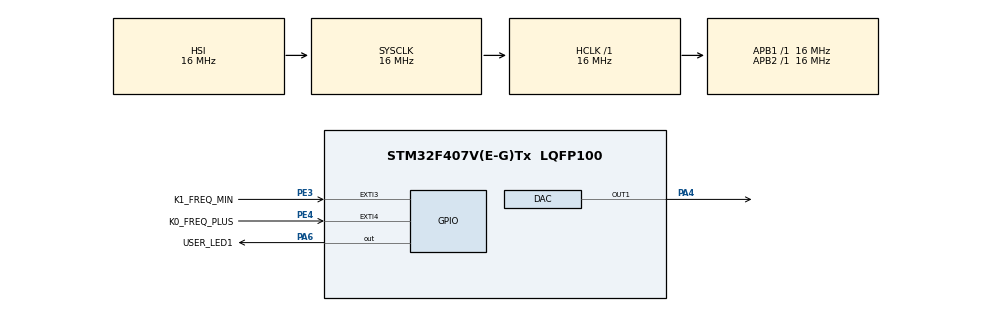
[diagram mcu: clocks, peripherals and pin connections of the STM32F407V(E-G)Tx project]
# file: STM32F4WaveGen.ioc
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DAC.DAC_Trigger=DAC_TRIGGER_T2_TRGO
DAC.TriangleAmplitude=DAC_TRIANGLEAMPLITUDE_15
DAC.WaveGeneration=TriangleWaveGeneration
Dma.DAC1.0.Direction=DMA_MEMORY_TO_PERIPH
Dma.DAC1.0.FIFOMode=DMA_FIFOMODE_DISABLE
Dma.DAC1.0.Instance=DMA1_Stream5
Dma.DAC1.0.MemDataAlignment=DMA_MDATAALIGN_WORD
Dma.DAC1.0.MemInc=DMA_MINC_ENABLE
Dma.DAC1.0.Mode=DMA_CIRCULAR
Dma.DAC1.0.PeriphDataAlignment=DMA_PDATAALIGN_WORD
Dma.DAC1.0.PeriphInc=DMA_PINC_DISABLE
Dma.DAC1.0.Priority=DMA_PRIORITY_HIGH
Dma.Request0=DAC1
Mcu.Family=STM32F4
Mcu.Name=STM32F407V(E-G)Tx
Mcu.Package=LQFP100
NVIC.DMA1_Stream5_IRQn=true\:0\:0\:false\:false\:true\:false\:true
NVIC.EXTI3_IRQn=true\:0\:0\:false\:false\:true\:true\:true
NVIC.EXTI4_IRQn=true\:0\:0\:false\:false\:true\:true\:true
NVIC.PriorityGroup=NVIC_PRIORITYGROUP_4
PA4.Signal=COMP_DAC1_group
PA6.GPIO_Label=USER_LED1
PA6.Signal=GPIO_Output
PE3.GPIO_Label=K1_FREQ_MIN
PE3.GPIO_PuPd=GPIO_PULLUP
PE3.Signal=GPXTI3
PE4.GPIO_Label=K0_FREQ_PLUS
PE4.GPIO_PuPd=GPIO_PULLUP
PE4.Signal=GPXTI4
ProjectManager.HeapSize=0x200
ProjectManager.StackSize=0x400
ProjectManager.TargetToolchain=MDK-ARM V5.27
RCC.48MHZClocksFreq_Value=48000000
RCC.AHBFreq_Value=16000000
RCC.APB1Freq_Value=16000000
RCC.APB1TimFreq_Value=16000000
RCC.APB2Freq_Value=16000000
RCC.APB2TimFreq_Value=16000000
RCC.CortexFreq_Value=16000000
RCC.HCLKFreq_Value=16000000
RCC.HSE_VALUE=25000000
RCC.HSI_VALUE=16000000
RCC.LSE_VALUE=32768
RCC.SYSCLKFreq_VALUE=16000000
RCC.VCOOutputFreq_Value=192000000
SH.COMP_DAC1_group.0=DAC_OUT1,DAC_OUT1
TIM2.Period=327
TIM2.TIM_MasterOutputTrigger=TIM_TRGO_UPDATE
VP_TIM2_VS_ClockSourceINT.Mode=Internal
board=custom

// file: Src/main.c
/* USER CODE BEGIN Header */
/**
  ******************************************************************************
  * @file           : main.c
  * @brief          : Main program body
  ******************************************************************************
  * @attention
  *
  * <h2><center>&copy; Copyright (c) 2022 STMicroelectronics.
  * All rights reserved.</center></h2>
  *
  * This software component is licensed by ST under BSD 3-Clause license,
  * the "License"; You may not use this file except in compliance with the
  * License. You may obtain a copy of the License at:
  *                        opensource.org/licenses/BSD-3-Clause
  *
  ******************************************************************************
  */
/* USER CODE END Header */

#include "main.h"

DAC_HandleTypeDef hdac;
DMA_HandleTypeDef hdma_dac1;

TIM_HandleTypeDef htim2;

/* USER CODE BEGIN PV */
static int periodValue = 327;
int waveMode = 0;
int prevWave = -1;
/* USER CODE END PV */

void SystemClock_Config(void);
static void MX_GPIO_Init(void);
static void MX_DMA_Init(void);
static void MX_DAC_Init(void);
static void MX_TIM2_Init(void);
static void Begin_DAC(uint32_t* pData);
void DMATransferComplete(DMA_HandleTypeDef *hdma);

/* USER CODE BEGIN 0 */
#define NS  128

uint32_t Sine_Wave_LUT[NS] = {
    2048, 2149, 2250, 2350, 2450, 2549, 2646, 2742, 2837, 2929, 3020, 3108, 3193, 3275, 3355,
3431, 3504, 3574, 3639, 3701, 3759, 3812, 3861, 3906, 3946, 3982, 4013, 4039, 4060, 4076,
4087, 4094, 4095, 4091, 4082, 4069, 4050, 4026, 3998, 3965, 3927, 3884, 3837, 3786, 3730,
3671, 3607, 3539, 3468, 3394, 3316, 3235, 3151, 3064, 2975, 2883, 2790, 2695, 2598, 2500,
2400, 2300, 2199, 2098, 1997, 1896, 1795, 1695, 1595, 1497, 1400, 1305, 1212, 1120, 1031,
944, 860, 779, 701, 627, 556, 488, 424, 365, 309, 258, 211, 168, 130, 97,
69, 45, 26, 13, 4, 0, 1, 8, 19, 35, 56, 82, 113, 149, 189,
234, 283, 336, 394, 456, 521, 591, 664, 740, 820, 902, 987, 1075, 1166, 1258,
1353, 1449, 1546, 1645, 1745, 1845, 1946, 2047
};

uint32_t Saw_Wave_LUT[NS] = {
	0, 32, 64, 97, 129, 161, 193, 226, 258, 290, 322, 355, 387, 419, 451,
484, 516, 548, 580, 613, 645, 677, 709, 742, 774, 806, 838, 871, 903, 935,
967, 1000, 1032, 1064, 1096, 1129, 1161, 1193, 1225, 1258, 1290, 1322, 1354, 1386, 1419,
1451, 1483, 1515, 1548, 1580, 1612, 1644, 1677, 1709, 1741, 1773, 1806, 1838, 1870, 1902,
1935, 1967, 1999, 2031, 2064, 2096, 2128, 2160, 2193, 2225, 2257, 2289, 2322, 2354, 2386,
2418, 2451, 2483, 2515, 2547, 2580, 2612, 2644, 2676, 2709, 2741, 2773, 2805, 2837, 2870,
2902, 2934, 2966, 2999, 3031, 3063, 3095, 3128, 3160, 3192, 3224, 3257, 3289, 3321, 3353,
3386, 3418, 3450, 3482, 3515, 3547, 3579, 3611, 3644, 3676, 3708, 3740, 3773, 3805, 3837,
3869, 3902, 3934, 3966, 3998, 4031, 4063, 0
};

uint32_t Tri_Wave_LUT[NS] = {
	0, 64, 129, 193, 258, 322, 387, 451, 516, 580, 645, 709, 774, 838, 903,
967, 1032, 1096, 1161, 1225, 1290, 1354, 1419, 1483, 1548, 1612, 1677, 1741, 1806, 1870,
1935, 1999, 2064, 2128, 2193, 2257, 2322, 2386, 2451, 2515, 2580, 2644, 2709, 2773, 2837,
2902, 2966, 3031, 3095, 3160, 3224, 3289, 3353, 3418, 3482, 3547, 3611, 3676, 3740, 3805,
3869, 3934, 3998, 4063, 4063, 3998, 3934, 3869, 3805, 3740, 3676, 3611, 3547, 3482, 3418,
3353, 3289, 3224, 3160, 3095, 3031, 2966, 2902, 2837, 2773, 2709, 2644, 2580, 2515, 2451,
2386, 2322, 2257, 2193, 2128, 2064, 1999, 1935, 1870, 1806, 1741, 1677, 1612, 1548, 1483,
1419, 1354, 1290, 1225, 1161, 1096, 1032, 967, 903, 838, 774, 709, 645, 580, 516,
451, 387, 322, 258, 193, 129, 64, 0
};
/* USER CODE END 0 */

int main(void)
{

  /* MCU Configuration--------------------------------------------------------*/

  /* Reset of all peripherals, Initializes the Flash interface and the Systick. */
  HAL_Init();

  /* Configure the system clock */
  SystemClock_Config();

  /* Initialize all configured peripherals */
  MX_GPIO_Init();
  /* USER CODE BEGIN 2 */
   HAL_DMA_RegisterCallback(&hdma_dac1, HAL_DMA_XFER_CPLT_CB_ID, &DMATransferComplete);
	 Begin_DAC((uint32_t*)Tri_Wave_LUT);
//		HAL_Delay(2000);
  /* USER CODE END 2 */

  /* Infinite loop */
	while (1)
  {
//		Begin_DAC((uint32_t*)Saw_Wave_LUT);
//		HAL_Delay(2000);
//    HAL_DAC_Stop(&hdac, DAC_CHANNEL_1);
//		HAL_Delay(2000);
  }
}

void Begin_DAC(uint32_t* pData)
{
	MX_DMA_Init();
  MX_DAC_Init();
  MX_TIM2_Init();
  /* USER CODE BEGIN 2 */
	HAL_DAC_Start_DMA(&hdac, DAC_CHANNEL_1, pData, 128, DAC_ALIGN_12B_R);
  HAL_TIM_Base_Start(&htim2);
}

void DMATransferComplete(DMA_HandleTypeDef *hdma)
{
  Begin_DAC((uint32_t*)Tri_Wave_LUT);
}

// External Interrupt ISR Handler CallBackFun
void HAL_GPIO_EXTI_Callback(uint16_t GPIO_Pin)
{
	  HAL_GPIO_TogglePin(USER_LED1_GPIO_Port,USER_LED1_Pin);
    if(GPIO_Pin == K1_FREQ_MIN_Pin) // INT Source is pin A9
    {
				//decrease wave frequency
				periodValue = periodValue + 10;
		}
		else if(GPIO_Pin == K0_FREQ_PLUS_Pin)
		{
				//increase wave frequency
				periodValue = periodValue - 10;
			  if(HAL_GPIO_ReadPin(K1_FREQ_MIN_GPIO_Port, K1_FREQ_MIN_Pin) == GPIO_PIN_RESET)
				{
					//Change waveform
					waveMode++;
					if(waveMode > 2)
						waveMode = 0;
				}
		}
		if(periodValue < 200 || periodValue > 500 )
				periodValue = 327;

		__HAL_TIM_SET_AUTORELOAD(&htim2,periodValue);

}

void SystemClock_Config(void)
{
  RCC_OscInitTypeDef RCC_OscInitStruct = {0};
  RCC_ClkInitTypeDef RCC_ClkInitStruct = {0};

  /** Configure the main internal regulator output voltage
  */
  __HAL_RCC_PWR_CLK_ENABLE();
  __HAL_PWR_VOLTAGESCALING_CONFIG(PWR_REGULATOR_VOLTAGE_SCALE1);
  /** Initializes the CPU, AHB and APB busses clocks
  */
  RCC_OscInitStruct.OscillatorType = RCC_OSCILLATORTYPE_HSI;
  RCC_OscInitStruct.HSIState = RCC_HSI_ON;
  RCC_OscInitStruct.HSICalibrationValue = RCC_HSICALIBRATION_DEFAULT;
  RCC_OscInitStruct.PLL.PLLState = RCC_PLL_NONE;
  if (HAL_RCC_OscConfig(&RCC_OscInitStruct) != HAL_OK)
  {
    Error_Handler();
  }
  /** Initializes the CPU, AHB and APB busses clocks
  */
  RCC_ClkInitStruct.ClockType = RCC_CLOCKTYPE_HCLK|RCC_CLOCKTYPE_SYSCLK
                              |RCC_CLOCKTYPE_PCLK1|RCC_CLOCKTYPE_PCLK2;
  RCC_ClkInitStruct.SYSCLKSource = RCC_SYSCLKSOURCE_HSI;
  RCC_ClkInitStruct.AHBCLKDivider = RCC_SYSCLK_DIV1;
  RCC_ClkInitStruct.APB1CLKDivider = RCC_HCLK_DIV1;
  RCC_ClkInitStruct.APB2CLKDivider = RCC_HCLK_DIV1;

  if (HAL_RCC_ClockConfig(&RCC_ClkInitStruct, FLASH_LATENCY_0) != HAL_OK)
  {
    Error_Handler();
  }
}

static void MX_DAC_Init(void)
{

  DAC_ChannelConfTypeDef sConfig = {0};

  /** DAC Initialization
  */
  hdac.Instance = DAC;
  if (HAL_DAC_Init(&hdac) != HAL_OK)
  {
    Error_Handler();
  }
  /** DAC channel OUT1 config
  */
  sConfig.DAC_Trigger = DAC_TRIGGER_T2_TRGO;
  sConfig.DAC_OutputBuffer = DAC_OUTPUTBUFFER_ENABLE;
  if (HAL_DAC_ConfigChannel(&hdac, &sConfig, DAC_CHANNEL_1) != HAL_OK)
  {
    Error_Handler();
  }
  /** Configure Triangle wave generation on DAC OUT1
  */
  if (HAL_DACEx_TriangleWaveGenerate(&hdac, DAC_CHANNEL_1, DAC_TRIANGLEAMPLITUDE_15) != HAL_OK)
  {
    Error_Handler();
  }

}

static void MX_TIM2_Init(void)
{

  TIM_ClockConfigTypeDef sClockSourceConfig = {0};
  TIM_MasterConfigTypeDef sMasterConfig = {0};

  htim2.Instance = TIM2;
  htim2.Init.Prescaler = 0;
  htim2.Init.CounterMode = TIM_COUNTERMODE_UP;
  htim2.Init.Period = 327;
  htim2.Init.ClockDivision = TIM_CLOCKDIVISION_DIV1;
  htim2.Init.AutoReloadPreload = TIM_AUTORELOAD_PRELOAD_DISABLE;
  if (HAL_TIM_Base_Init(&htim2) != HAL_OK)
  {
    Error_Handler();
  }
  sClockSourceConfig.ClockSource = TIM_CLOCKSOURCE_INTERNAL;
  if (HAL_TIM_ConfigClockSource(&htim2, &sClockSourceConfig) != HAL_OK)
  {
    Error_Handler();
  }
  sMasterConfig.MasterOutputTrigger = TIM_TRGO_UPDATE;
  sMasterConfig.MasterSlaveMode = TIM_MASTERSLAVEMODE_DISABLE;
  if (HAL_TIMEx_MasterConfigSynchronization(&htim2, &sMasterConfig) != HAL_OK)
  {
    Error_Handler();
  }

}

static void MX_DMA_Init(void)
{

  /* DMA controller clock enable */
  __HAL_RCC_DMA1_CLK_ENABLE();

  /* DMA interrupt init */
  /* DMA1_Stream5_IRQn interrupt configuration */
  HAL_NVIC_SetPriority(DMA1_Stream5_IRQn, 0, 0);
  HAL_NVIC_EnableIRQ(DMA1_Stream5_IRQn);

}

static void MX_GPIO_Init(void)
{
  GPIO_InitTypeDef GPIO_InitStruct = {0};

  /* GPIO Ports Clock Enable */
  __HAL_RCC_GPIOE_CLK_ENABLE();
  __HAL_RCC_GPIOA_CLK_ENABLE();

  /*Configure GPIO pin Output Level */
  HAL_GPIO_WritePin(USER_LED1_GPIO_Port, USER_LED1_Pin, GPIO_PIN_RESET);

  /*Configure GPIO pins : K1_FREQ_MIN_Pin K0_FREQ_PLUS_Pin */
  GPIO_InitStruct.Pin = K1_FREQ_MIN_Pin|K0_FREQ_PLUS_Pin;
  GPIO_InitStruct.Mode = GPIO_MODE_IT_RISING;
  GPIO_InitStruct.Pull = GPIO_PULLUP;
  HAL_GPIO_Init(GPIOE, &GPIO_InitStruct);

  /*Configure GPIO pin : USER_LED1_Pin */
  GPIO_InitStruct.Pin = USER_LED1_Pin;
  GPIO_InitStruct.Mode = GPIO_MODE_OUTPUT_PP;
  GPIO_InitStruct.Pull = GPIO_NOPULL;
  GPIO_InitStruct.Speed = GPIO_SPEED_FREQ_LOW;
  HAL_GPIO_Init(USER_LED1_GPIO_Port, &GPIO_InitStruct);

  /* EXTI interrupt init*/
  HAL_NVIC_SetPriority(EXTI3_IRQn, 0, 0);
  HAL_NVIC_EnableIRQ(EXTI3_IRQn);

  HAL_NVIC_SetPriority(EXTI4_IRQn, 0, 0);
  HAL_NVIC_EnableIRQ(EXTI4_IRQn);

}

void Error_Handler(void)
{
}

/************************ (C) COPYRIGHT STMicroelectronics *****END OF FILE****/
